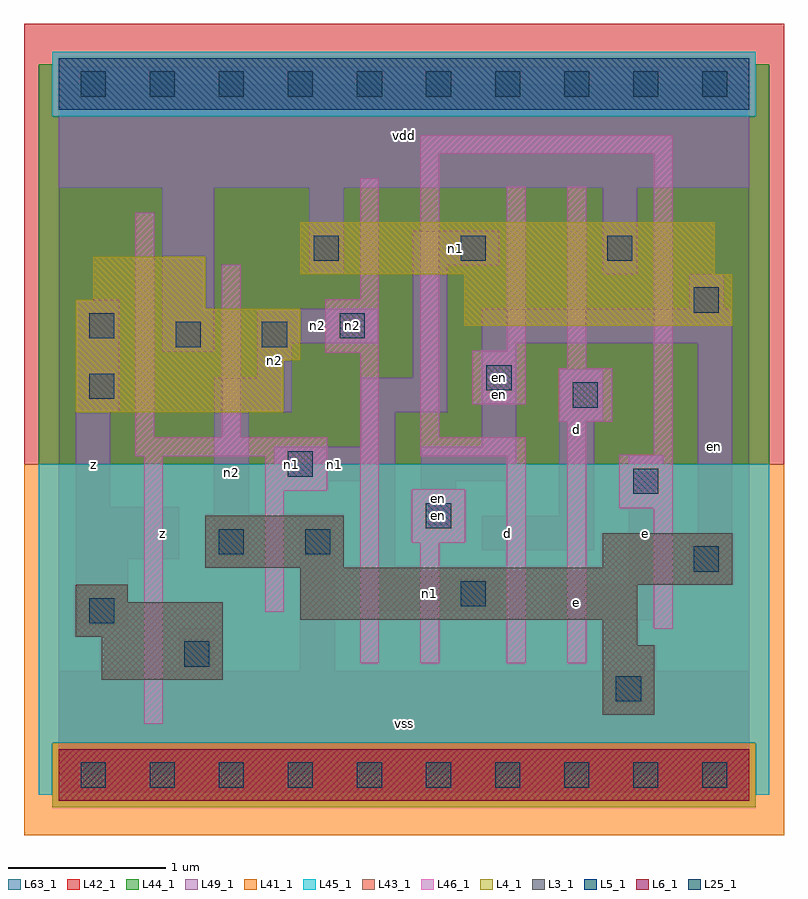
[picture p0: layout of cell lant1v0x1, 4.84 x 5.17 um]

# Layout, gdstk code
import gdstk
lib = gdstk.Library(unit=1e-6, precision=1e-09)
def R(c, l, rs):  # rectangles x0, y0, x1, y1
    for r in rs: c.add(gdstk.rectangle(r[:2], r[2:], *l))
def A(c, l, x, y, w, h, nx, ny, dx, dy):  # array of equal rectangles
    R(c, l, [(x+i*dx, y+j*dy, x+i*dx+w, y+j*dy+h) for i in range(nx) for j in range(ny)])
L3_1 = (3, 1)
L4_1 = (4, 1)
L5_1 = (5, 1)
L6_1 = (6, 1)
L25_1 = (25, 1)
L41_1 = (41, 1)
L42_1 = (42, 1)
L43_1 = (43, 1)
L44_1 = (44, 1)
L45_1 = (45, 1)
L46_1 = (46, 1)
L49_1 = (49, 1)
L63_1 = (63, 1)

lant1v0x1 = lib.new_cell('lant1v0x1')
R(lant1v0x1, L3_1, [(3.465,0.385,3.795,0.825), (0.275,0.605,1.045,0.88), (3.465,0.825,3.685,0.99), (0.11,0.88,1.045,1.1), (1.54,0.99,3.685,1.21), (0.11,1.1,0.44,1.21), (1.54,1.21,4.29,1.32), (0.935,1.32,1.815,1.65), (3.465,1.32,4.29,1.54)])
R(lant1v0x1, L4_1, [(0.11,2.31,1.43,2.64), (0.11,2.64,1.54,2.97), (2.585,2.86,4.29,3.19), (0.11,2.97,0.935,3.025), (0.22,3.025,0.935,3.3), (1.54,3.19,4.18,3.52)])
R(lant1v0x1, L5_1, [(0,4.235,4.4,4.565)])
R(lant1v0x1, L6_1, [(0,-0.165,4.4,0.165)])
A(lant1v0x1, L25_1, 0.14, -0.08, 0.16, 0.16, 10, 2, 0.44, 4.4)
A(lant1v0x1, L25_1, 1.625, 3.275, 0.16, 0.16, 3, 1, 0.935, 0)
R(lant1v0x1, L25_1, [(3.55,0.47,3.71,0.63), (0.8,0.69,0.96,0.85), (0.195,0.965,0.355,1.125), (2.56,1.075,2.72,1.235), (4.045,1.295,4.205,1.455), (1.02,1.405,1.18,1.565), (1.57,1.405,1.73,1.565), (2.34,1.57,2.5,1.73), (3.66,1.79,3.82,1.95), (1.46,1.9,1.62,2.06), (3.275,2.34,3.435,2.5), (0.195,2.395,0.355,2.555), (2.725,2.45,2.885,2.61), (0.745,2.725,0.905,2.885), (1.295,2.725,1.455,2.885), (0.195,2.78,0.355,2.94), (1.79,2.78,1.95,2.94), (4.045,2.945,4.205,3.105)])
R(lant1v0x1, L41_1, [(-0.22,-0.385,4.62,1.98)])
R(lant1v0x1, L42_1, [(-0.22,1.98,4.62,4.785)])
R(lant1v0x1, L43_1, [(0,-0.165,4.4,0.165), (3.465,0.385,3.795,0.825), (0.275,0.605,1.045,0.88), (3.465,0.825,3.685,0.99), (0.11,0.88,1.045,1.1), (1.54,0.99,3.685,1.21), (0.11,1.1,0.44,1.21), (1.54,1.21,4.29,1.32), (0.935,1.32,1.815,1.65), (3.465,1.32,4.29,1.54), (0.11,2.31,1.43,2.64), (0.11,2.64,1.54,2.97), (2.585,2.86,4.29,3.19), (0.11,2.97,0.935,3.025), (0.22,3.025,0.935,3.3), (1.54,3.19,4.18,3.52), (0,4.235,4.4,4.565)])
R(lant1v0x1, L44_1, [(-0.04,-0.205,4.44,0.205), (-0.125,1.98,4.525,4.195), (-0.125,4.195,-0.04,4.525), (4.44,4.195,4.525,4.525)])
R(lant1v0x1, L45_1, [(-0.125,-0.125,-0.04,0.205), (4.44,-0.125,4.525,0.205), (-0.125,0.205,4.525,1.98), (-0.04,4.195,4.44,4.605)])
R(lant1v0x1, L46_1, [(0.545,0.325,0.665,2.03), (1.92,0.71,2.04,2.69), (2.305,0.71,2.425,1.48), (2.855,0.71,2.975,2.03), (3.24,0.71,3.36,2.25), (3.79,0.93,3.91,1.7), (1.315,1.04,1.435,1.81), (2.25,1.48,2.59,1.82), (3.57,1.7,3.91,2.04), (1.315,1.81,1.71,2.03), (0.49,2.03,1.71,2.15), (2.305,2.03,2.975,2.15), (3.79,2.04,3.91,3.955), (0.49,2.15,0.61,3.58), (1.04,2.15,1.16,3.25), (2.305,2.15,2.425,3.955), (3.185,2.25,3.525,2.59), (2.635,2.36,2.975,2.7), (3.24,2.59,3.36,3.745), (1.7,2.69,2.04,3.03), (2.855,2.7,2.975,3.745), (1.92,3.03,2.04,3.8), (2.305,3.955,3.91,4.075)])
R(lant1v0x1, L49_1, [(0,-0.11,4.4,0.66), (0.77,0.66,0.99,0.935), (1.54,0.66,1.76,1.65), (0.11,0.935,0.44,1.375), (3.135,0.99,3.85,1.21), (1.925,1.045,2.805,1.265), (3.63,1.21,3.85,2.035), (4.015,1.21,4.29,1.54), (1.925,1.265,2.145,1.87), (0.99,1.32,1.21,2.31), (0.11,1.375,0.77,1.705), (2.695,1.43,3.41,1.65), (2.31,1.485,2.53,1.87), (4.07,1.54,4.29,2.75), (3.19,1.65,3.41,2.255), (0.11,1.705,0.33,2.31), (1.375,1.87,2.145,2.09), (2.31,1.87,2.915,2.09), (1.925,2.09,2.145,2.31), (2.695,2.09,2.915,2.75), (3.19,2.255,3.465,2.585), (0.11,2.31,0.385,3.025), (0.99,2.31,1.485,2.53), (1.925,2.31,2.475,2.53), (1.265,2.53,1.485,2.75), (2.255,2.53,2.475,3.245), (0.66,2.695,0.99,3.74), (1.265,2.75,2.035,2.97), (2.695,2.75,4.29,2.97), (4.015,2.97,4.235,3.19), (1.595,3.19,1.815,3.74), (3.465,3.19,3.685,3.74), (2.255,3.245,2.805,3.465), (0,3.74,4.4,4.51)])
R(lant1v0x1, L63_1, [(0,0,4.4,4.4)])
lant1v0x1.add(gdstk.Label('en', (2.42,1.65), layer=49, texttype=1))
lant1v0x1.add(gdstk.Label('n1', (1.485,1.98), layer=49, texttype=1))
lant1v0x1.add(gdstk.Label('n2', (1.87,2.86), layer=49, texttype=1))
lant1v0x1.add(gdstk.Label('en', (2.805,2.53), layer=49, texttype=1))
lant1v0x1.add(gdstk.Label('z', (0.22,1.98), layer=49, texttype=1))
lant1v0x1.add(gdstk.Label('z', (0.66,1.54), layer=49, texttype=1))
lant1v0x1.add(gdstk.Label('n2', (1.1,1.925), layer=49, texttype=1))
lant1v0x1.add(gdstk.Label('n2', (1.375,2.64), layer=49, texttype=1))
lant1v0x1.add(gdstk.Label('vss', (2.2,0.33), layer=49, texttype=1))
lant1v0x1.add(gdstk.Label('en', (2.42,1.76), layer=49, texttype=1))
lant1v0x1.add(gdstk.Label('n1', (1.76,1.98), layer=49, texttype=1))
lant1v0x1.add(gdstk.Label('n2', (1.65,2.86), layer=49, texttype=1))
lant1v0x1.add(gdstk.Label('vdd', (2.2,4.07), layer=49, texttype=1))
lant1v0x1.add(gdstk.Label('d', (2.86,1.54), layer=49, texttype=1))
lant1v0x1.add(gdstk.Label('n1', (2.365,1.155), layer=49, texttype=1))
lant1v0x1.add(gdstk.Label('e', (3.3,1.1), layer=49, texttype=1))
lant1v0x1.add(gdstk.Label('d', (3.3,2.2), layer=49, texttype=1))
lant1v0x1.add(gdstk.Label('en', (2.805,2.42), layer=49, texttype=1))
lant1v0x1.add(gdstk.Label('n1', (2.53,3.355), layer=49, texttype=1))
lant1v0x1.add(gdstk.Label('e', (3.74,1.54), layer=49, texttype=1))
lant1v0x1.add(gdstk.Label('en', (4.18,2.09), layer=49, texttype=1))

lib.write_gds('lant1v0x1.gds')
